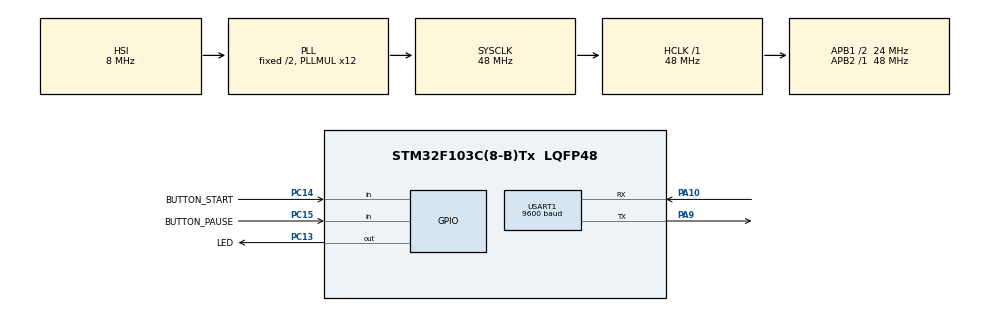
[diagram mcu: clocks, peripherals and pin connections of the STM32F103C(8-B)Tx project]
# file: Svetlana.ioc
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Mcu.Family=STM32F1
Mcu.Name=STM32F103C(8-B)Tx
Mcu.Package=LQFP48
NVIC.PriorityGroup=NVIC_PRIORITYGROUP_4
NVIC.TIM1_UP_IRQn=true\:0\:0\:false\:false\:true\:true\:true
PA10.Mode=Asynchronous
PA10.Signal=USART1_RX
PA9.Mode=Asynchronous
PA9.Signal=USART1_TX
PC13-TAMPER-RTC.GPIO_Label=LED
PC13-TAMPER-RTC.Signal=GPIO_Output
PC14-OSC32_IN.GPIO_Label=BUTTON_START
PC14-OSC32_IN.Signal=GPIO_Input
PC15-OSC32_OUT.GPIO_Label=BUTTON_PAUSE
PC15-OSC32_OUT.Signal=GPIO_Input
ProjectManager.HeapSize=0x200
ProjectManager.StackSize=0x400
ProjectManager.TargetToolchain=STM32CubeIDE
RCC.AHBFreq_Value=48000000
RCC.APB1CLKDivider=RCC_HCLK_DIV2
RCC.APB1Freq_Value=24000000
RCC.APB1TimFreq_Value=48000000
RCC.APB2Freq_Value=48000000
RCC.APB2TimFreq_Value=48000000
RCC.HCLKFreq_Value=48000000
RCC.PLLMUL=RCC_PLL_MUL12
RCC.SYSCLKFreq_VALUE=48000000
RCC.SYSCLKSource=RCC_SYSCLKSOURCE_PLLCLK
RCC.USBFreq_Value=48000000
TIM1.Channel-Output\ Compare1\ No\ Output=TIM_CHANNEL_1
TIM1.Period=1000
TIM1.Prescaler=48000-1
USART1.BaudRate=9600
USART1.VirtualMode=VM_ASYNC
VP_SYS_VS_ND.Mode=No_Debug
VP_TIM1_VS_no_output1.Mode=Output Compare1 No Output
board=custom

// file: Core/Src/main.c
/* USER CODE BEGIN Header */
/**
  ******************************************************************************
  * @file           : main.c
  * @brief          : Main program body
  ******************************************************************************
  * @attention
  *
  * <h2><center>&copy; Copyright (c) 2021 STMicroelectronics.
  * All rights reserved.</center></h2>
  *
  * This software component is licensed by ST under BSD 3-Clause license,
  * the "License"; You may not use this file except in compliance with the
  * License. You may obtain a copy of the License at:
  *                        opensource.org/licenses/BSD-3-Clause
  *
  ******************************************************************************
  */
/* USER CODE END Header */
#include "main.h"

/* USER CODE BEGIN Includes */
#include <string.h>
/* USER CODE END Includes */

TIM_HandleTypeDef htim1;

UART_HandleTypeDef huart1;

void SystemClock_Config(void);
static void MX_GPIO_Init(void);
static void MX_USART1_UART_Init(void);
static void MX_TIM1_Init(void);
/* USER CODE BEGIN PFP */

uint8_t BStart;
uint8_t BPause;
uint8_t MyTime[3]; // hour[2]   min[1]   sec[0]
void HAL_TIM_PeriodElapsedCallback(TIM_HandleTypeDef *htim){
	if (BPause==0) {
		HAL_GPIO_TogglePin(LED_GPIO_Port, LED_Pin);
			MyTime[0]++;
			if(MyTime[0] == 60){ //seconds
				MyTime[1]++;
				MyTime[0] = 0;
			}
			if(MyTime[1] == 60){ //minutes
				MyTime[2]++;
				MyTime[1] = 0;
			}
			if(MyTime[2] == 24){ //hours
				MyTime[2] = 0;
			}

	}

	char str[32]={0};
	sprintf(str, "time: %02d:%02d:%02d\r", MyTime[2], MyTime[1], MyTime[0]);
	HAL_UART_Transmit(&huart1, str, strlen(str), -1);
}

/* USER CODE END PFP */

int main(void)
{
  /* USER CODE BEGIN 1 */
	BStart = 0;
	BPause = 1;

  /* USER CODE END 1 */

  /* MCU Configuration--------------------------------------------------------*/

  /* Reset of all peripherals, Initializes the Flash interface and the Systick. */
  HAL_Init();

  /* Configure the system clock */
  SystemClock_Config();

  /* Initialize all configured peripherals */
  MX_GPIO_Init();
  MX_USART1_UART_Init();
  MX_TIM1_Init();
  /* USER CODE BEGIN 2 */
  HAL_TIM_Base_Start_IT(&htim1);
  /* USER CODE END 2 */

  /* Infinite loop */
  /* USER CODE BEGIN WHILE */
  while (1)
  {
	  if(HAL_GPIO_ReadPin(BUTTON_START_GPIO_Port, BUTTON_START_Pin) == GPIO_PIN_SET) {
		  if (BStart == 0) {
			  BStart = 1;
			  BPause = 0;
		  }  else if (BStart == 1 && BPause == 1 ) {
			  BStart = 0;
			  BPause = 1;
			  MyTime[0] = 0;
			  MyTime[1] = 0;
			  MyTime[2] = 0;
		  }
		  while (HAL_GPIO_ReadPin(BUTTON_START_GPIO_Port, BUTTON_START_Pin) == GPIO_PIN_SET) {}
	  }
	  if(HAL_GPIO_ReadPin(BUTTON_PAUSE_GPIO_Port, BUTTON_PAUSE_Pin) == GPIO_PIN_SET) {
	  		  if (BPause == 0) {
	  			  BPause = 1;
	  		  } else if (BPause == 1) {
	  			  BPause = 0;
	  		  }
	  		 while (HAL_GPIO_ReadPin(BUTTON_PAUSE_GPIO_Port, BUTTON_PAUSE_Pin) == GPIO_PIN_SET) {}
	  }

    /* USER CODE END WHILE */

  }
}

void SystemClock_Config(void)
{
  RCC_OscInitTypeDef RCC_OscInitStruct = {0};
  RCC_ClkInitTypeDef RCC_ClkInitStruct = {0};

  /** Initializes the RCC Oscillators according to the specified parameters
  * in the RCC_OscInitTypeDef structure.
  */
  RCC_OscInitStruct.OscillatorType = RCC_OSCILLATORTYPE_HSI;
  RCC_OscInitStruct.HSIState = RCC_HSI_ON;
  RCC_OscInitStruct.HSICalibrationValue = RCC_HSICALIBRATION_DEFAULT;
  RCC_OscInitStruct.PLL.PLLState = RCC_PLL_ON;
  RCC_OscInitStruct.PLL.PLLSource = RCC_PLLSOURCE_HSI_DIV2;
  RCC_OscInitStruct.PLL.PLLMUL = RCC_PLL_MUL12;
  if (HAL_RCC_OscConfig(&RCC_OscInitStruct) != HAL_OK)
  {
    Error_Handler();
  }
  /** Initializes the CPU, AHB and APB buses clocks
  */
  RCC_ClkInitStruct.ClockType = RCC_CLOCKTYPE_HCLK|RCC_CLOCKTYPE_SYSCLK
                              |RCC_CLOCKTYPE_PCLK1|RCC_CLOCKTYPE_PCLK2;
  RCC_ClkInitStruct.SYSCLKSource = RCC_SYSCLKSOURCE_PLLCLK;
  RCC_ClkInitStruct.AHBCLKDivider = RCC_SYSCLK_DIV1;
  RCC_ClkInitStruct.APB1CLKDivider = RCC_HCLK_DIV2;
  RCC_ClkInitStruct.APB2CLKDivider = RCC_HCLK_DIV1;

  if (HAL_RCC_ClockConfig(&RCC_ClkInitStruct, FLASH_LATENCY_1) != HAL_OK)
  {
    Error_Handler();
  }
}

static void MX_TIM1_Init(void)
{

  TIM_MasterConfigTypeDef sMasterConfig = {0};
  TIM_OC_InitTypeDef sConfigOC = {0};
  TIM_BreakDeadTimeConfigTypeDef sBreakDeadTimeConfig = {0};

  htim1.Instance = TIM1;
  htim1.Init.Prescaler = 48000-1;
  htim1.Init.CounterMode = TIM_COUNTERMODE_UP;
  htim1.Init.Period = 1000;
  htim1.Init.ClockDivision = TIM_CLOCKDIVISION_DIV1;
  htim1.Init.RepetitionCounter = 0;
  htim1.Init.AutoReloadPreload = TIM_AUTORELOAD_PRELOAD_DISABLE;
  if (HAL_TIM_OC_Init(&htim1) != HAL_OK)
  {
    Error_Handler();
  }
  sMasterConfig.MasterOutputTrigger = TIM_TRGO_RESET;
  sMasterConfig.MasterSlaveMode = TIM_MASTERSLAVEMODE_DISABLE;
  if (HAL_TIMEx_MasterConfigSynchronization(&htim1, &sMasterConfig) != HAL_OK)
  {
    Error_Handler();
  }
  sConfigOC.OCMode = TIM_OCMODE_TIMING;
  sConfigOC.Pulse = 0;
  sConfigOC.OCPolarity = TIM_OCPOLARITY_HIGH;
  sConfigOC.OCNPolarity = TIM_OCNPOLARITY_HIGH;
  sConfigOC.OCFastMode = TIM_OCFAST_DISABLE;
  sConfigOC.OCIdleState = TIM_OCIDLESTATE_RESET;
  sConfigOC.OCNIdleState = TIM_OCNIDLESTATE_RESET;
  if (HAL_TIM_OC_ConfigChannel(&htim1, &sConfigOC, TIM_CHANNEL_1) != HAL_OK)
  {
    Error_Handler();
  }
  sBreakDeadTimeConfig.OffStateRunMode = TIM_OSSR_DISABLE;
  sBreakDeadTimeConfig.OffStateIDLEMode = TIM_OSSI_DISABLE;
  sBreakDeadTimeConfig.LockLevel = TIM_LOCKLEVEL_OFF;
  sBreakDeadTimeConfig.DeadTime = 0;
  sBreakDeadTimeConfig.BreakState = TIM_BREAK_DISABLE;
  sBreakDeadTimeConfig.BreakPolarity = TIM_BREAKPOLARITY_HIGH;
  sBreakDeadTimeConfig.AutomaticOutput = TIM_AUTOMATICOUTPUT_DISABLE;
  if (HAL_TIMEx_ConfigBreakDeadTime(&htim1, &sBreakDeadTimeConfig) != HAL_OK)
  {
    Error_Handler();
  }

}

static void MX_USART1_UART_Init(void)
{

  huart1.Instance = USART1;
  huart1.Init.BaudRate = 9600;
  huart1.Init.WordLength = UART_WORDLENGTH_8B;
  huart1.Init.StopBits = UART_STOPBITS_1;
  huart1.Init.Parity = UART_PARITY_NONE;
  huart1.Init.Mode = UART_MODE_TX_RX;
  huart1.Init.HwFlowCtl = UART_HWCONTROL_NONE;
  huart1.Init.OverSampling = UART_OVERSAMPLING_16;
  if (HAL_UART_Init(&huart1) != HAL_OK)
  {
    Error_Handler();
  }

}

static void MX_GPIO_Init(void)
{
  GPIO_InitTypeDef GPIO_InitStruct = {0};

  /* GPIO Ports Clock Enable */
  __HAL_RCC_GPIOC_CLK_ENABLE();
  __HAL_RCC_GPIOA_CLK_ENABLE();

  /*Configure GPIO pin Output Level */
  HAL_GPIO_WritePin(LED_GPIO_Port, LED_Pin, GPIO_PIN_RESET);

  /*Configure GPIO pin : LED_Pin */
  GPIO_InitStruct.Pin = LED_Pin;
  GPIO_InitStruct.Mode = GPIO_MODE_OUTPUT_PP;
  GPIO_InitStruct.Pull = GPIO_NOPULL;
  GPIO_InitStruct.Speed = GPIO_SPEED_FREQ_LOW;
  HAL_GPIO_Init(LED_GPIO_Port, &GPIO_InitStruct);

  /*Configure GPIO pins : BUTTON_START_Pin BUTTON_PAUSE_Pin */
  GPIO_InitStruct.Pin = BUTTON_START_Pin|BUTTON_PAUSE_Pin;
  GPIO_InitStruct.Mode = GPIO_MODE_INPUT;
  GPIO_InitStruct.Pull = GPIO_NOPULL;
  HAL_GPIO_Init(GPIOC, &GPIO_InitStruct);

}

void Error_Handler(void)
{
  __disable_irq();
  while (1)
  {
  }
}

/************************ (C) COPYRIGHT STMicroelectronics *****END OF FILE****/
